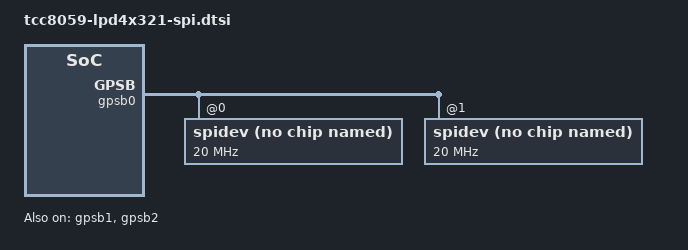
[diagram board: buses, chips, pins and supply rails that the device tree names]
// SPDX-License-Identifier: (GPL-2.0-or-later OR MIT)
/*
 * Copyright (C) 2023 Telechips Inc.
 */

&gpsb0 {
	status = "okay";
	gpsb-port = <22>;
	pinctrl-names = "idle", "active", "sleep";
	pinctrl-0 = <&gpsb22_bus_idle>;
	pinctrl-1 = <&gpsb22_bus_spi>;
	pinctrl-2 = <&gpsb22_bus_idle>;

	/* cs-gpios */
	cs-gpios = <&gpg 8 0>,<&gpa 30 0>;

	#address-cells = <1>;
	#size-cells = <0>;
	spidev@0 {
		compatible = "rohm,dh2228fv";
		reg = <0>;
		spi-max-frequency = <20000000>;
	};
	spidev@1 {
		compatible = "rohm,dh2228fv";
		reg = <1>;
		spi-max-frequency = <20000000>;
	};
};

&gpsb1 {
	status = "okay";
	gpsb-port = <15>;
	pinctrl-names = "idle", "active", "sleep";
	pinctrl-0 = <&gpsb15_bus_idle>;
	pinctrl-1 = <&gpsb15_bus_tsif>;
	pinctrl-2 = <&gpsb15_bus_idle>;
};

&gpsb2 {
	status = "okay";
	gpsb-port = <16>;
	pinctrl-names = "idle", "active", "sleep";
	pinctrl-0 = <&gpsb16_bus_idle>;
	pinctrl-1 = <&gpsb16_bus_tsif>;
	pinctrl-2 = <&gpsb16_bus_idle>;
};

&pinctrl {
	gpsb0_bus: gpsb0_bus {
		telechips,pins = "gpsd0-11", "gpsd0-12", "gpsd0-14", "gpsd0-13";
		telechips,pin-function = <6>;
		telechips,input_buffer_enable;
	};

	gpsb1_bus: gpsb1_bus {
		telechips,pins = "gpsd1-0", "gpsd1-1", "gpsd1-3", "gpsd1-2";
		telechips,pin-function = <6>;
		telechips,input_buffer_enable;
	};

	gpsb2_bus: gpsb2_bus {
		telechips,pins = "gpsd1-6", "gpsd1-7", "gpsd1-9", "gpsd1-8";
		telechips,pin-function = <6>;
		telechips,input_buffer_enable;
	};

	gpsb3_bus: gpsb3_bus {
		telechips,pins = "gpsd2-0", "gpsd2-1", "gpsd2-3", "gpsd2-2";
		telechips,pin-function = <6>;
		telechips,input_buffer_enable;
	};

	gpsb4_bus: gpsb4_bus {
		telechips,pins = "gpsd2-6", "gpsd2-7", "gpsd2-9", "gpsd2-8";
		telechips,pin-function = <6>;
		telechips,input_buffer_enable;
	};

	gpsb5_bus: gpsb5_bus {
		telechips,pins = "gpa-0", "gpa-1", "gpa-3", "gpa-2";
		telechips,pin-function = <6>;
		telechips,input_buffer_enable;
	};

	gpsb6_bus: gpsb6_bus {
		telechips,pins = "gpa-6", "gpa-7", "gpa-9", "gpa-8";
		telechips,pin-function = <6>;
		telechips,input_buffer_enable;
	};

	gpsb6_bus_idle: gpsb6_bus_idle {
		telechips,pins = "gpa-6", "gpa-7", "gpa-9", "gpa-8";
		telechips,pin-function = <0>;
		telechips,input_buffer_enable;
		telechips,output-low;
	};

	gpsb6_bus_spi: gpsb6_bus_spi {
		telechips,pins = "gpa-6", "gpa-7", "gpa-9", "gpa-8";
		telechips,pin-function = <6>;
		telechips,input_buffer_enable;
	};

	gpsb6_bus_tsif: gpsb6_bus_tsif {
		telechips,pins = "gpa-6", "gpa-7", "gpa-9", "gpa-8";
		telechips,pin-function = <6>;
		telechips,input_buffer_enable;
	};

	gpsb7_bus: gpsb7_bus {
		telechips,pins = "gpa-12", "gpa-13", "gpa-15", "gpa-14";
		telechips,pin-function = <6>;
		telechips,input_buffer_enable;
	};

	gpsb7_bus_idle: gpsb7_bus_idle {
		telechips,pins = "gpa-12", "gpa-13", "gpa-15", "gpa-14";
		telechips,pin-function = <0>;
		telechips,output-low;
		telechips,input_buffer_enable;
	};

	gpsb7_bus_spi: gpsb7_bus_spi {
		telechips,pins = "gpa-12", "gpa-13", "gpa-15", "gpa-14";
		telechips,pin-function = <6>;
		telechips,input_buffer_enable;
	};

	gpsb7_bus_tsif: gpsb7_bus_tsif {
		telechips,pins = "gpa-12", "gpa-13", "gpa-15", "gpa-14";
		telechips,pin-function = <6>;
		telechips,input_buffer_enable;
	};

	gpsb8_bus: gpsb8_bus {
		telechips,pins = "gpa-18", "gpa-19", "gpa-21", "gpa-20";
		telechips,pin-function = <6>;
		telechips,input_buffer_enable;
	};

	gpsb9_bus: gpsb9_bus {
		telechips,pins = "gpa-24", "gpa-25", "gpa-27", "gpa-26";
		telechips,pin-function = <6>;
		telechips,input_buffer_enable;
	};

	gpsb10_bus: gpsb10_bus {
		telechips,pins = "gpb-0", "gpb-1", "gpb-3", "gpb-2";
		telechips,pin-function = <6>;
		telechips,input_buffer_enable;
	};

	gpsb11_bus: gpsb11_bus {
		telechips,pins = "gpb-6", "gpb-7", "gpb-9", "gpb-8";
		telechips,pin-function = <6>;
		telechips,input_buffer_enable;
	};

	gpsb12_bus: gpsb12_bus {
		telechips,pins = "gpb-12", "gpb-13", "gpb-15", "gpb-14";
		telechips,pin-function = <6>;
		telechips,input_buffer_enable;
	};

	gpsb13_bus: gpsb13_bus {
		telechips,pins = "gpb-19", "gpb-20", "gpb-22", "gpb-21";
		telechips,pin-function = <6>;
		telechips,input_buffer_enable;
	};

	gpsb14_bus: gpsb14_bus {
		telechips,pins = "gpb-25", "gpb-26", "gpb-28", "gpb-27";
		telechips,pin-function = <6>;
		telechips,input_buffer_enable;
	};

	gpsb15_bus: gpsb15_bus {
		telechips,pins = "gpc-0", "gpc-1", "gpc-3", "gpc-2";
		telechips,pin-function = <6>;
		telechips,input_buffer_enable;
	};

	gpsb15_bus_idle: gpsb15_bus_idle {
		telechips,pins = "gpc-0", "gpc-1", "gpc-3", "gpc-2";
		telechips,pin-function = <0>;
		telechips,output-low;
		telechips,input_buffer_enable;
	};

	gpsb15_bus_spi: gpsb15_bus_spi {
		telechips,pins = "gpc-0", "gpc-1", "gpc-3", "gpc-2";
		telechips,pin-function = <6>;
		telechips,input_buffer_enable;
	};

	gpsb15_bus_tsif: gpsb15_bus_tsif {
		telechips,pins = "gpc-0", "gpc-1", "gpc-3", "gpc-2";
		telechips,pin-function = <6>;
		telechips,input_buffer_enable;
	};

	gpsb16_bus: gpsb16_bus {
		telechips,pins = "gpc-4", "gpc-5", "gpc-7", "gpc-6";
		telechips,pin-function = <6>;
		telechips,input_buffer_enable;
	};

	gpsb16_bus_idle: gpsb16_bus_idle {
		telechips,pins = "gpc-4", "gpc-5", "gpc-7", "gpc-6";
		telechips,pin-function = <0>;
		telechips,output-low;
		telechips,input_buffer_enable;
	};

	gpsb16_bus_spi: gpsb16_bus_spi {
		telechips,pins = "gpc-4", "gpc-5", "gpc-7", "gpc-6";
		telechips,pin-function = <6>;
		telechips,input_buffer_enable;
	};

	gpsb16_bus_tsif: gpsb16_bus_tsif {
		telechips,pins = "gpc-4", "gpc-5", "gpc-7", "gpc-6";
		telechips,pin-function = <6>;
		telechips,input_buffer_enable;
	};

	gpsb17_bus: gpsb17_bus {
		telechips,pins = "gpc-12", "gpc-13", "gpc-15", "gpc-14";
		telechips,pin-function = <6>;
		telechips,input_buffer_enable;
	};

	gpsb18_bus: gpsb18_bus {
		telechips,pins = "gpc-16", "gpc-17", "gpc-19", "gpc-18";
		telechips,pin-function = <6>;
		telechips,input_buffer_enable;
	};

	gpsb19_bus: gpsb19_bus {
		telechips,pins = "gpc-20", "gpc-21", "gpc-23", "gpc-22";
		telechips,pin-function = <6>;
		telechips,input_buffer_enable;
	};

	gpsb20_bus: gpsb20_bus {
		telechips,pins = "gpc-26", "gpc-27", "gpc-29", "gpc-28";
		telechips,pin-function = <6>;
		telechips,input_buffer_enable;
	};

	gpsb21_bus: gpsb21_bus {
		telechips,pins = "gpg-0", "gpg-1", "gpg-3", "gpg-2";
		telechips,pin-function = <6>;
		telechips,input_buffer_enable;
	};

	gpsb22_bus: gpsb22_bus {
		telechips,pins = "gpg-7", "gpg-8", "gpg-10", "gpg-9";
		telechips,pin-function = <6>;
		telechips,input_buffer_enable;
	};

	gpsb22_bus_idle: gpsb22_bus_idle {
		telechips,pins = "gpg-7", "gpg-8", "gpg-10", "gpg-9";
		telechips,pin-function = <0>;
		telechips,output-low;
		telechips,input_buffer_enable;
	};

	gpsb22_bus_spi: gpsb22_bus_spi {
		telechips,pins = "gpg-7", "gpg-8", "gpg-10", "gpg-9";
		telechips,pin-function = <6>;
		telechips,input_buffer_enable;
	};

	gpsb23_bus: gpsb23_bus {
		telechips,pins = "gpe-5", "gpe-6", "gpe-8", "gpe-7";
		telechips,pin-function = <6>;
		telechips,input_buffer_enable;
	};

	gpsb24_bus: gpsb24_bus {
		telechips,pins = "gpe-11", "gpe-12", "gpe-14", "gpe-13";
		telechips,pin-function = <6>;
		telechips,input_buffer_enable;
	};

	gpsb25_bus: gpsb25_bus {
		telechips,pins = "gpe-16", "gpe-17", "gpe-19", "gpe-18";
		telechips,pin-function = <6>;
		telechips,input_buffer_enable;
	};

	gpsb26_bus: gpsb26_bus {
		telechips,pins = "gph-4", "gph-5", "gph-7", "gph-6";
		telechips,pin-function = <6>;
		telechips,input_buffer_enable;
	};

	gpsb27_bus: gpsb27_bus {
		telechips,pins = "gpma-0", "gpma-1", "gpma-3", "gpma-2";
		telechips,pin-function = <6>;
		telechips,input_buffer_enable;
	};

	gpsb28_bus: gpsb28_bus {
		telechips,pins = "gpma-6", "gpma-7", "gpma-9", "gpma-8";
		telechips,pin-function = <6>;
		telechips,input_buffer_enable;
	};

	gpsb29_bus: gpsb29_bus {
		telechips,pins = "gpma-12", "gpma-13", "gpma-15", "gpma-14";
		telechips,pin-function = <6>;
		telechips,input_buffer_enable;
	};

	gpsb30_bus: gpsb30_bus {
		telechips,pins = "gpma-18", "gpma-19", "gpma-21", "gpma-20";
		telechips,pin-function = <6>;
		telechips,input_buffer_enable;
	};

	gpsb31_bus: gpsb31_bus {
		telechips,pins = "gpma-24", "gpma-25", "gpma-27", "gpma-26";
		telechips,pin-function = <6>;
		telechips,input_buffer_enable;
	};
};
